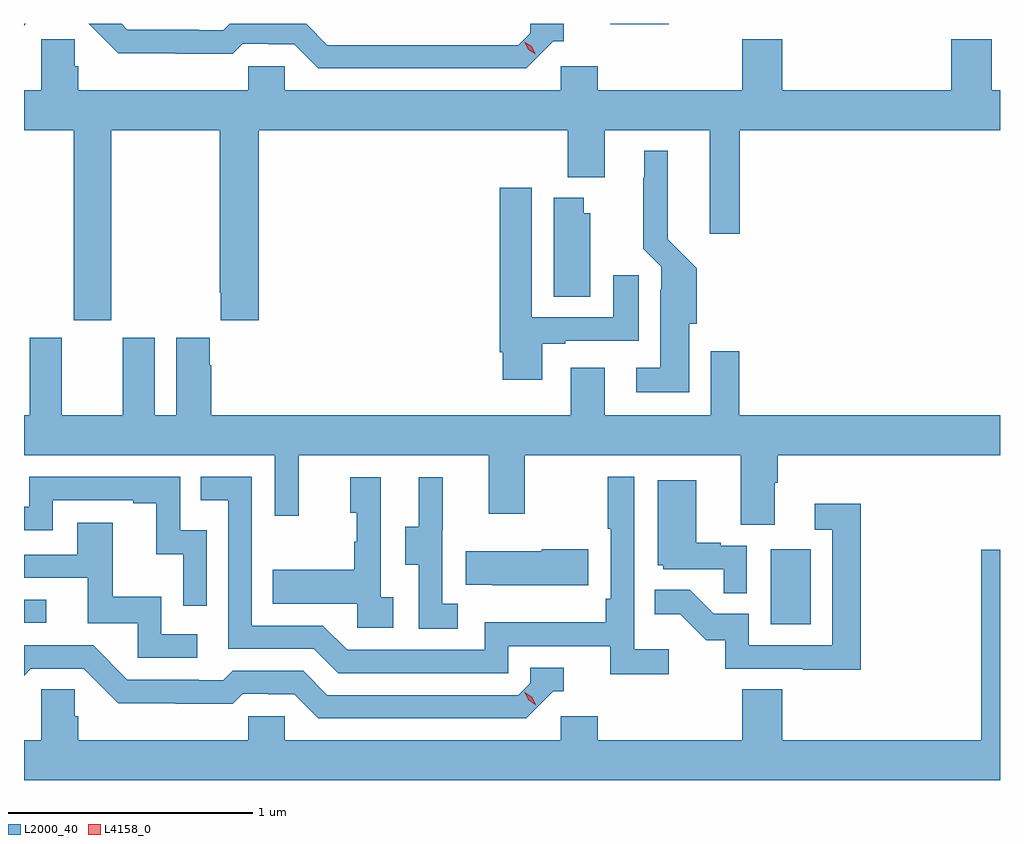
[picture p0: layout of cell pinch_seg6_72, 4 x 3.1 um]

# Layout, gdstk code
import gdstk
lib = gdstk.Library(unit=1e-6, precision=1e-09)
def R(c, l, rs):  # rectangles x0, y0, x1, y1
    for r in rs: c.add(gdstk.rectangle(r[:2], r[2:], *l))
def P(c, l, *ps):  # polygons
    for p in ps: c.add(gdstk.Polygon(p, *l))
L2000_40 = (2000, 40)
L4158_0 = (4158, 0)

pinch_seg6_72 = lib.new_cell('pinch_seg6_72')
R(pinch_seg6_72, L2000_40, [(893.966,930.66,894.13,930.967), (890.906,930.666,890.998,930.759), (893.309,933.118,893.548,933.12)])
P(pinch_seg6_72, L2000_40, [(893.076,933.048),(893.119,933.048),(893.119,933.12),(892.98,933.12),(892.98,933.081),(892.932,933.033),(892.149,933.033),(892.062,933.12),(891.749,933.12),(891.722,933.093),(891.623,933.093),(891.623,933.096),(891.33,933.096),(891.306,933.12),(891.171,933.12),(891.292,932.999),(891.528,932.999),(891.528,932.997),(891.761,932.997),(891.803,933.039),(891.906,933.039),(891.906,933.036),(892.013,933.036),(892.112,932.937),(892.965,932.937)],
  [(890.913,933.12),(890.906,933.12),(890.906,933.113)],
  [(891.264,932.684),(891.709,932.684),(891.709,932.017),(891.713,932.017),(891.713,931.905),(891.869,931.905),(891.869,932.684),(893.135,932.684),(893.135,932.492),(893.287,932.492),(893.287,932.684),(893.717,932.684),(893.717,932.259),(893.84,932.259),(893.84,932.684),(894.906,932.684),(894.906,932.848),(894.872,932.848),(894.872,933.056),(894.707,933.056),(894.707,932.848),(894.014,932.848),(894.014,933.056),(893.849,933.056),(893.849,932.848),(893.258,932.848),(893.258,932.946),(893.106,932.946),(893.106,932.848),(891.975,932.848),(891.975,932.946),(891.825,932.946),(891.825,932.848),(891.128,932.848),(891.128,932.946),(891.113,932.946),(891.113,933.056),(890.976,933.056),(890.976,932.848),(890.906,932.848),(890.906,932.684),(891.109,932.684),(891.109,931.905),(891.264,931.905)],
  [(893.632,931.89),(893.663,931.89),(893.663,932.118),(893.545,932.236),(893.545,932.599),(893.447,932.599),(893.447,932.489),(893.443,932.489),(893.443,932.198),(893.517,932.124),(893.517,932.03),(893.513,932.03),(893.513,931.711),(893.415,931.711),(893.415,931.61),(893.632,931.61)],
  [(893.029,931.809),(893.125,931.809),(893.125,931.821),(893.425,931.821),(893.425,932.089),(893.321,932.089),(893.321,931.917),(892.987,931.917),(892.987,932.449),(892.856,932.449),(892.856,931.774),(892.868,931.774),(892.868,931.662),(893.029,931.662)],
  [(893.227,932.343),(893.2,932.343),(893.2,932.407),(893.078,932.407),(893.078,932.002),(893.227,932.002)],
  [(893.983,931.24),(893.996,931.24),(893.996,931.352),(894.906,931.352),(894.906,931.516),(893.837,931.516),(893.837,931.777),(893.721,931.777),(893.721,931.516),(893.287,931.516),(893.287,931.711),(893.147,931.711),(893.147,931.516),(891.674,931.516),(891.674,931.721),(891.667,931.721),(891.667,931.834),(891.53,931.834),(891.53,931.516),(891.442,931.516),(891.442,931.834),(891.311,931.834),(891.311,931.516),(891.061,931.516),(891.061,931.834),(890.93,931.834),(890.93,931.516),(890.906,931.516),(890.906,931.352),(891.933,931.352),(891.933,931.104),(892.031,931.104),(892.031,931.352),(892.811,931.352),(892.811,931.113),(892.959,931.113),(892.959,931.352),(893.843,931.352),(893.843,931.066),(893.983,931.066)],
  [(893.548,930.556),(893.406,930.556),(893.406,931.264),(893.298,931.264),(893.298,931.051),(893.31,931.051),(893.31,930.763),(893.29,930.763),(893.29,930.667),(892.794,930.667),(892.794,930.555),(892.23,930.555),(892.131,930.654),(891.84,930.654),(891.84,931.263),(891.631,931.263),(891.631,931.167),(891.744,931.167),(891.744,930.558),(892.094,930.558),(892.193,930.459),(892.89,930.459),(892.89,930.57),(893.309,930.57),(893.309,930.454),(893.548,930.454)],
  [(891.654,931.044),(891.546,931.044),(891.546,931.263),(890.928,931.263),(890.928,931.14),(890.906,931.14),(890.906,931.044),(891.024,931.044),(891.024,931.167),(891.353,931.167),(891.353,931.155),(891.449,931.155),(891.449,930.947),(891.558,930.947),(891.558,930.735),(891.654,930.735)],
  [(892.684,930.743),(892.62,930.743),(892.62,931.047),(892.622,931.047),(892.622,931.261),(892.523,931.261),(892.523,931.059),(892.469,931.059),(892.469,930.904),(892.524,930.904),(892.524,930.64),(892.684,930.64)],
  [(892.42,930.77),(892.368,930.77),(892.368,931.261),(892.244,931.261),(892.244,931.116),(892.27,931.116),(892.27,930.998),(892.26,930.998),(892.26,930.883),(891.925,930.883),(891.925,930.743),(892.272,930.743),(892.272,930.645),(892.42,930.645)],
  [(893.868,930.981),(893.762,930.981),(893.762,930.994),(893.662,930.994),(893.662,931.249),(893.504,931.249),(893.504,930.9),(893.526,930.9),(893.526,930.885),(893.773,930.885),(893.773,930.787),(893.868,930.787)],
  [(894.335,931.153),(894.147,931.153),(894.147,931.047),(894.219,931.047),(894.219,930.573),(893.877,930.573),(893.877,930.702),(893.733,930.702),(893.635,930.8),(893.491,930.8),(893.491,930.701),(893.595,930.701),(893.702,930.594),(893.779,930.594),(893.779,930.477),(894.097,930.477),(894.097,930.472),(894.335,930.472)],
  [(891.616,930.618),(891.468,930.618),(891.468,930.772),(891.269,930.772),(891.269,931.075),(891.125,931.075),(891.125,930.945),(890.906,930.945),(890.906,930.849),(891.167,930.849),(891.167,930.663),(891.372,930.663),(891.372,930.522),(891.616,930.522)],
  [(893.218,930.966),(893.027,930.966),(893.027,930.958),(892.717,930.958),(892.717,930.821),(892.825,930.821),(892.825,930.818),(893.218,930.818)],
  [(894.906,930.964),(894.83,930.964),(894.83,930.184),(894.014,930.184),(894.014,930.392),(893.849,930.392),(893.849,930.184),(893.258,930.184),(893.258,930.282),(893.106,930.282),(893.106,930.184),(891.975,930.184),(891.975,930.282),(891.825,930.282),(891.825,930.184),(891.128,930.184),(891.128,930.282),(891.113,930.282),(891.113,930.392),(890.976,930.392),(890.976,930.184),(890.906,930.184),(890.906,930.02),(894.906,930.02)],
  [(893.076,930.384),(893.119,930.384),(893.119,930.48),(892.98,930.48),(892.98,930.417),(892.932,930.369),(892.149,930.369),(892.05,930.468),(891.761,930.468),(891.722,930.429),(891.623,930.429),(891.623,930.432),(891.33,930.432),(891.189,930.573),(890.906,930.573),(890.906,930.449),(890.934,930.477),(891.15,930.477),(891.292,930.335),(891.528,930.335),(891.528,930.333),(891.761,930.333),(891.803,930.375),(891.906,930.375),(891.906,930.372),(892.013,930.372),(892.112,930.273),(892.965,930.273)])
P(pinch_seg6_72, L4158_0, [(893.003,932.996),(892.972,933.014),(892.956,933.046),(892.956,933.047),(892.956,933.047),(892.987,933.028),(893.003,932.996),(893.003,932.996)],
  [(893.002,930.33),(892.972,930.35),(892.956,930.383),(892.956,930.383),(892.956,930.383),(892.987,930.363),(893.003,930.331),(893.003,930.33)])

lib.write_gds('pinch_seg6_72.gds')
